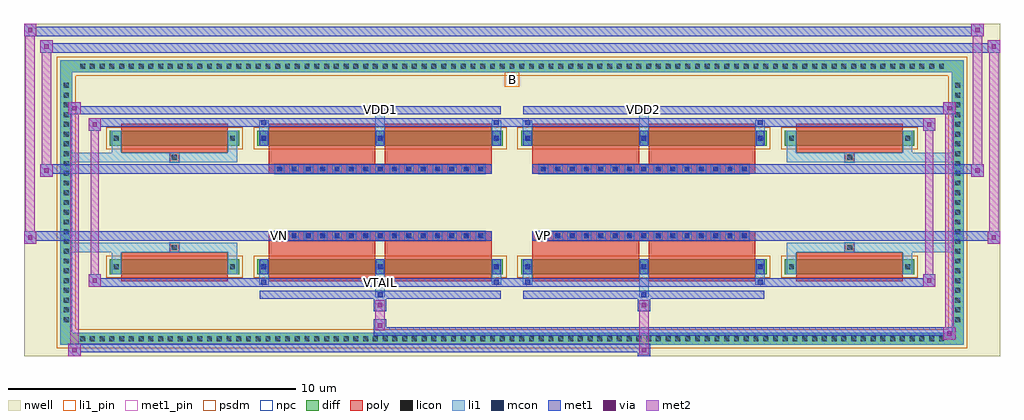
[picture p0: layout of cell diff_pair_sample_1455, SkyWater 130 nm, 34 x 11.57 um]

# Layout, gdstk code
import gdstk
lib = gdstk.Library(unit=1e-6, precision=5e-09)
def R(c, l, rs):  # rectangles x0, y0, x1, y1
    for r in rs: c.add(gdstk.rectangle(r[:2], r[2:], *l))
def A(c, l, x, y, w, h, nx, ny, dx, dy):  # array of equal rectangles
    R(c, l, [(x+i*dx, y+j*dy, x+i*dx+w, y+j*dy+h) for i in range(nx) for j in range(ny)])
def P(c, l, *ps):  # polygons
    for p in ps: c.add(gdstk.Polygon(p, *l))
nwell = (64, 20)
diff = (65, 20)
poly = (66, 20)
licon = (66, 44)
li1_pin = (67, 16)
li1 = (67, 20)
mcon = (67, 44)
met1_pin = (68, 16)
met1 = (68, 20)
via = (68, 44)
met2 = (69, 20)
psdm = (94, 20)
npc = (95, 20)

diff_pair_sample_1455 = lib.new_cell('diff_pair_sample_1455')
R(diff_pair_sample_1455, nwell, [(-17,-5.35,17,6.22), (-14.32,-3.54,-0.01,-0.8), (0.01,-3.54,14.32,-0.8), (-14.32,0.8,-0.01,3.54), (0.01,0.8,14.32,3.54)])
A(diff_pair_sample_1455, diff, -15.165, -4.95, 0.41, 0.41, 89, 2, 0.34, 9.49)
A(diff_pair_sample_1455, diff, -15.73, -4.285, 0.41, 0.41, 1, 25, 0, 0.34)
A(diff_pair_sample_1455, diff, 15.32, -4.285, 0.41, 0.41, 1, 25, 0, 0.34)
R(diff_pair_sample_1455, diff, [(-15.165,-4.95,15.165,-4.54), (-15.73,-4.285,-15.32,4.285), (15.32,-4.285,15.73,4.285), (-14.01,-2.495,-9.51,-1.985), (-8.87,-2.495,-0.32,-1.985), (0.32,-2.495,8.87,-1.985), (9.51,-2.495,14.01,-1.985), (-14.01,1.985,-9.51,2.495), (-8.87,1.985,-0.32,2.495), (0.32,1.985,8.87,2.495), (9.51,1.985,14.01,2.495), (-15.165,4.54,15.165,4.95)])
P(diff_pair_sample_1455, diff, [(15.73,4.95),(-15.73,4.95),(-15.73,-4.54),(-15.32,-4.54),(-15.32,4.54),(15.32,4.54),(15.32,-4.54),(-15.32,-4.54),(-15.73,-4.54),(-15.73,-4.95),(15.73,-4.95)])
A(diff_pair_sample_1455, poly, -8.26, -1.33, 0.33, 0.33, 15, 2, 0.5, 2.33)
A(diff_pair_sample_1455, poly, 0.93, -1.33, 0.33, 0.33, 15, 2, 0.5, 2.33)
R(diff_pair_sample_1455, poly, [(-13.62,-2.745,-9.9,-1.735), (-8.48,-2.745,-4.76,-1.735), (-4.43,-2.745,-0.71,-1.735), (0.71,-2.745,4.43,-1.735), (4.76,-2.745,8.48,-1.735), (9.9,-2.745,13.62,-1.735), (-11.925,-1.735,-11.595,-1.405), (-11.925,-1.735,-11.595,-1.405), (-8.48,-1.735,-4.76,-1.33), (-4.43,-1.735,-0.71,-1.33), (0.71,-1.735,4.43,-1.33), (4.76,-1.735,8.48,-1.33), (11.595,-1.735,11.925,-1.405), (11.595,-1.735,11.925,-1.405), (-8.48,-1.33,-0.71,-1), (0.71,-1.33,8.48,-1), (-8.48,1,-0.71,1.33), (0.71,1,8.48,1.33), (-8.48,1.33,-4.76,1.735), (-4.43,1.33,-0.71,1.735), (0.71,1.33,4.43,1.735), (4.76,1.33,8.48,1.735), (-11.925,1.405,-11.595,1.735), (-11.925,1.405,-11.595,1.735), (11.595,1.405,11.925,1.735), (11.595,1.405,11.925,1.735), (-13.62,1.735,-9.9,2.745), (-8.48,1.735,-4.76,2.745), (-4.43,1.735,-0.71,2.745), (0.71,1.735,4.43,2.745), (4.76,1.735,8.48,2.745), (9.9,1.735,13.62,2.745)])
A(diff_pair_sample_1455, licon, -15.045, -4.83, 0.17, 0.17, 89, 2, 0.34, 9.49)
A(diff_pair_sample_1455, licon, -15.61, -4.165, 0.17, 0.17, 1, 25, 0, 0.34)
A(diff_pair_sample_1455, licon, 15.44, -4.165, 0.17, 0.17, 1, 25, 0, 0.34)
A(diff_pair_sample_1455, licon, -8.73, -2.325, 0.17, 0.17, 3, 2, 4.05, 4.48)
A(diff_pair_sample_1455, licon, 0.46, -2.325, 0.17, 0.17, 3, 2, 4.05, 4.48)
A(diff_pair_sample_1455, licon, -8.18, -1.25, 0.17, 0.17, 15, 2, 0.5, 2.33)
A(diff_pair_sample_1455, licon, 1.01, -1.25, 0.17, 0.17, 15, 2, 0.5, 2.33)
R(diff_pair_sample_1455, licon, [(-13.87,-2.325,-13.7,-2.155), (-9.82,-2.325,-9.65,-2.155), (9.65,-2.325,9.82,-2.155), (13.7,-2.325,13.87,-2.155), (-11.845,-1.655,-11.675,-1.485), (11.675,-1.655,11.845,-1.485), (-11.845,1.485,-11.675,1.655), (11.675,1.485,11.845,1.655), (-13.87,2.155,-13.7,2.325), (-9.82,2.155,-9.65,2.325), (9.65,2.155,9.82,2.325), (13.7,2.155,13.87,2.325)])
R(diff_pair_sample_1455, li1_pin, [(-0.25,4.04,0.25,4.54)])
A(diff_pair_sample_1455, li1, -15.125, -4.91, 0.33, 0.33, 89, 2, 0.34, 9.49)
A(diff_pair_sample_1455, li1, -15.69, -4.245, 0.33, 0.33, 1, 25, 0, 0.34)
A(diff_pair_sample_1455, li1, 15.36, -4.245, 0.33, 0.33, 1, 25, 0, 0.34)
A(diff_pair_sample_1455, li1, -8.81, -2.495, 0.33, 0.51, 3, 2, 4.05, 4.48)
A(diff_pair_sample_1455, li1, 0.38, -2.495, 0.33, 0.51, 3, 2, 4.05, 4.48)
A(diff_pair_sample_1455, li1, -8.81, -2.405, 0.33, 0.33, 3, 2, 4.05, 4.48)
A(diff_pair_sample_1455, li1, 0.38, -2.405, 0.33, 0.33, 3, 2, 4.05, 4.48)
A(diff_pair_sample_1455, li1, -8.26, -1.33, 0.33, 0.33, 15, 2, 0.5, 2.33)
A(diff_pair_sample_1455, li1, 0.93, -1.33, 0.33, 0.33, 15, 2, 0.5, 2.33)
R(diff_pair_sample_1455, li1, [(-15.73,-4.95,-15.32,-4.54), (-15.73,-4.95,-15.32,-4.54), (-15.32,-4.95,15.32,-4.54), (15.32,-4.95,15.73,-4.54), (15.32,-4.95,15.73,-4.54), (-15.73,-4.54,-15.32,4.54), (15.32,-4.54,15.73,4.54), (-4.76,-3.3,-4.43,-2.495), (-4.68,-3.3,-4.51,-3.13), (4.43,-3.3,4.76,-2.495), (4.51,-3.3,4.68,-3.13), (-8.81,-2.87,-8.48,-2.495), (-8.73,-2.87,-8.56,-2.7), (-0.71,-2.87,-0.38,-2.495), (-0.63,-2.87,-0.46,-2.7), (0.38,-2.87,0.71,-2.495), (0.46,-2.87,0.63,-2.7), (8.48,-2.87,8.81,-2.495), (8.56,-2.87,8.73,-2.7), (-13.95,-2.495,-13.62,-1.985), (-9.9,-2.495,-9.57,-1.985), (9.57,-2.495,9.9,-1.985), (13.62,-2.495,13.95,-1.985), (-13.95,-2.405,-13.62,-2.075), (-9.9,-2.405,-9.57,-2.075), (9.57,-2.405,9.9,-2.075), (13.62,-2.405,13.95,-2.075), (-8.73,-2.325,-8.56,-2.155), (-8.73,-2.325,-8.56,-2.155), (-4.68,-2.325,-4.51,-2.155), (-4.68,-2.325,-4.51,-2.155), (-0.63,-2.325,-0.46,-2.155), (-0.63,-2.325,-0.46,-2.155), (0.46,-2.325,0.63,-2.155), (0.46,-2.325,0.63,-2.155), (4.51,-2.325,4.68,-2.155), (4.51,-2.325,4.68,-2.155), (8.56,-2.325,8.73,-2.155), (8.56,-2.325,8.73,-2.155), (-13.95,-1.985,-13.62,-1.405), (-9.9,-1.985,-9.57,-1.405), (9.57,-1.985,9.9,-1.405), (13.62,-1.985,13.95,-1.405), (-15.73,-1.735,-11.925,-1.405), (-13.95,-1.735,-11.925,-1.405), (-11.925,-1.735,-11.595,-1.405), (-11.595,-1.735,-9.57,-1.405), (9.57,-1.735,11.595,-1.405), (11.595,-1.735,11.925,-1.405), (11.595,-1.735,15.73,-1.405), (11.925,-1.735,13.95,-1.405), (-15.73,1.405,-11.925,1.735), (-13.95,1.405,-11.925,1.735), (-13.95,1.405,-13.62,1.985), (-11.925,1.405,-11.595,1.735), (-11.595,1.405,-9.57,1.735), (-9.9,1.405,-9.57,1.985), (9.57,1.405,11.595,1.735), (9.57,1.405,9.9,1.985), (11.595,1.405,11.925,1.735), (11.595,1.405,15.73,1.735), (11.925,1.405,13.95,1.735), (13.62,1.405,13.95,1.985), (-13.95,1.985,-13.62,2.495), (-9.9,1.985,-9.57,2.495), (9.57,1.985,9.9,2.495), (13.62,1.985,13.95,2.495), (-13.95,2.075,-13.62,2.405), (-9.9,2.075,-9.57,2.405), (9.57,2.075,9.9,2.405), (13.62,2.075,13.95,2.405), (-8.73,2.155,-8.56,2.325), (-8.73,2.155,-8.56,2.325), (-4.68,2.155,-4.51,2.325), (-4.68,2.155,-4.51,2.325), (-0.63,2.155,-0.46,2.325), (-0.63,2.155,-0.46,2.325), (0.46,2.155,0.63,2.325), (0.46,2.155,0.63,2.325), (4.51,2.155,4.68,2.325), (4.51,2.155,4.68,2.325), (8.56,2.155,8.73,2.325), (8.56,2.155,8.73,2.325), (-8.81,2.495,-8.48,2.87), (-4.76,2.495,-4.43,3.3), (-0.71,2.495,-0.38,2.87), (0.38,2.495,0.71,2.87), (4.43,2.495,4.76,3.3), (8.48,2.495,8.81,2.87), (-8.73,2.7,-8.56,2.87), (-0.63,2.7,-0.46,2.87), (0.46,2.7,0.63,2.87), (8.56,2.7,8.73,2.87), (-4.68,3.13,-4.51,3.3), (4.51,3.13,4.68,3.3), (-15.73,4.54,-15.32,4.95), (-15.73,4.54,-15.32,4.95), (-15.32,4.54,15.32,4.95), (15.32,4.54,15.73,4.95), (15.32,4.54,15.73,4.95)])
A(diff_pair_sample_1455, mcon, -8.73, -2.325, 0.17, 0.17, 3, 2, 4.05, 4.48)
A(diff_pair_sample_1455, mcon, 0.46, -2.325, 0.17, 0.17, 3, 2, 4.05, 4.48)
A(diff_pair_sample_1455, mcon, -8.18, -1.25, 0.17, 0.17, 15, 2, 0.5, 2.33)
A(diff_pair_sample_1455, mcon, 1.01, -1.25, 0.17, 0.17, 15, 2, 0.5, 2.33)
R(diff_pair_sample_1455, mcon, [(-4.68,-3.3,-4.51,-3.13), (4.51,-3.3,4.68,-3.13), (-8.73,-2.87,-8.56,-2.7), (-0.63,-2.87,-0.46,-2.7), (0.46,-2.87,0.63,-2.7), (8.56,-2.87,8.73,-2.7), (-8.73,2.7,-8.56,2.87), (-0.63,2.7,-0.46,2.87), (0.46,2.7,0.63,2.87), (8.56,2.7,8.73,2.87), (-4.68,3.13,-4.51,3.3), (4.51,3.13,4.68,3.3)])
R(diff_pair_sample_1455, met1_pin, [(-4.73,-2.91,-4.46,-2.64), (-8.23,-1.29,-7.96,-1.02), (0.96,-1.29,1.23,-1.02), (-4.73,3.09,-4.46,3.36), (4.46,3.09,4.73,3.36)])
A(diff_pair_sample_1455, met1, -8.79, -2.495, 0.29, 0.51, 3, 2, 4.05, 4.48)
A(diff_pair_sample_1455, met1, 0.4, -2.495, 0.29, 0.51, 3, 2, 4.05, 4.48)
A(diff_pair_sample_1455, met1, -8.79, -2.385, 0.29, 0.29, 3, 2, 4.05, 4.48)
A(diff_pair_sample_1455, met1, 0.4, -2.385, 0.29, 0.29, 3, 2, 4.05, 4.48)
A(diff_pair_sample_1455, met1, -8.24, -1.31, 0.29, 0.29, 15, 2, 0.5, 2.33)
A(diff_pair_sample_1455, met1, 0.95, -1.31, 0.29, 0.29, 15, 2, 0.5, 2.33)
R(diff_pair_sample_1455, met1, [(-15.46,-5.35,-15.03,-4.92), (4.38,-5.35,4.81,-4.92), (-15.46,-5.21,4.81,-4.92), (15.03,-4.78,15.46,-4.35), (-4.81,-4.64,15.46,-4.35), (-4.81,-4.5,-4.38,-4.07), (-4.81,-3.79,-4.38,-3.36), (4.38,-3.79,4.81,-3.36), (-8.79,-3.36,-0.4,-3.07), (-4.74,-3.36,-4.45,-3.07), (0.4,-3.36,8.79,-3.07), (4.45,-3.36,4.74,-3.07), (-14.75,-2.93,-14.32,-2.5), (-14.75,-2.93,-8.79,-2.64), (-8.79,-2.93,-8.5,-2.64), (-8.79,-2.93,-0.4,-2.64), (-0.69,-2.93,-0.4,-2.64), (-0.4,-2.93,0.4,-2.64), (0.4,-2.93,0.69,-2.64), (0.4,-2.93,8.79,-2.64), (8.5,-2.93,8.79,-2.64), (8.79,-2.93,14.75,-2.64), (14.32,-2.93,14.75,-2.5), (-17,-1.43,-16.57,-1), (16.57,-1.43,17,-1), (-17,-1.33,-0.71,-1), (-8.48,-1.33,-0.71,-1), (0.71,-1.33,8.48,-1), (0.71,-1.33,17,-1), (-16.43,0.9,-16,1.33), (16,0.9,16.43,1.33), (-16.43,1,-8.48,1.33), (-8.48,1,-0.71,1.33), (0.71,1,8.48,1.33), (8.48,1,16.43,1.33), (-14.75,2.5,-14.32,2.93), (14.32,2.5,14.75,2.93), (-14.75,2.64,-8.79,2.93), (-8.79,2.64,-8.5,2.93), (-8.79,2.64,-0.4,2.93), (-0.69,2.64,-0.4,2.93), (-0.4,2.64,0.4,2.93), (0.4,2.64,0.69,2.93), (0.4,2.64,8.79,2.93), (8.5,2.64,8.79,2.93), (8.79,2.64,14.75,2.93), (-15.46,3.07,-15.03,3.5), (-15.46,3.07,-8.79,3.36), (-8.79,3.07,-0.4,3.36), (-4.74,3.07,-4.45,3.36), (0.4,3.07,8.79,3.36), (4.45,3.07,4.74,3.36), (8.79,3.07,15.46,3.36), (15.03,3.07,15.46,3.5), (-16.43,5.22,-16,5.65), (-16.43,5.22,-14.32,5.55), (-14.32,5.22,14.32,5.55), (14.32,5.22,17,5.55), (16.57,5.22,17,5.65), (-17,5.79,-16.57,6.22), (-17,5.79,-14.32,6.12), (-14.32,5.79,14.32,6.12), (14.32,5.79,16.43,6.12), (16,5.79,16.43,6.22)])
R(diff_pair_sample_1455, via, [(-15.32,-5.21,-15.17,-5.06), (4.52,-5.21,4.67,-5.06), (15.17,-4.64,15.32,-4.49), (-4.67,-4.36,-4.52,-4.21), (-4.67,-3.65,-4.52,-3.5), (4.52,-3.65,4.67,-3.5), (-14.61,-2.79,-14.46,-2.64), (14.46,-2.79,14.61,-2.64), (-16.86,-1.29,-16.71,-1.14), (16.71,-1.29,16.86,-1.14), (-16.29,1.04,-16.14,1.19), (16.14,1.04,16.29,1.19), (-14.61,2.64,-14.46,2.79), (14.46,2.64,14.61,2.79), (-15.32,3.21,-15.17,3.36), (15.17,3.21,15.32,3.36), (-16.29,5.36,-16.14,5.51), (16.71,5.36,16.86,5.51), (-16.86,5.93,-16.71,6.08), (16.14,5.93,16.29,6.08)])
R(diff_pair_sample_1455, met2, [(-15.46,-5.35,-15.03,-4.92), (-15.39,-5.35,-15.1,3.5), (-15.1,-5.35,-15.03,-4.92), (-15.41,-5.3,-15.08,-4.97), (4.43,-5.3,4.76,-4.97), (4.43,-4.97,4.76,-3.74), (15.03,-4.78,15.46,-4.35), (15.1,-4.78,15.39,3.5), (15.39,-4.78,15.46,-4.35), (15.08,-4.73,15.41,-4.4), (-4.76,-4.45,-4.43,-4.12), (-4.76,-4.12,-4.43,-3.74), (-4.76,-3.74,-4.43,-3.41), (4.43,-3.74,4.76,-3.41), (-14.75,-2.93,-14.32,-2.5), (-14.68,-2.93,-14.39,2.93), (-14.39,-2.93,-14.32,-2.5), (14.32,-2.93,14.75,-2.5), (14.39,-2.93,14.68,2.93), (14.68,-2.93,14.75,-2.5), (-14.7,-2.88,-14.37,-2.55), (14.37,-2.88,14.7,-2.55), (-17,-1.43,-16.57,-1), (-16.95,-1.43,-16.62,6.22), (-16.62,-1.43,-16.57,-1), (16.57,-1.43,17,-1), (16.62,-1.43,16.95,5.65), (16.95,-1.43,17,-1), (-16.95,-1.38,-16.62,-1.05), (16.62,-1.38,16.95,-1.05), (-16.43,0.9,-16,1.33), (-16.38,0.9,-16.05,5.65), (-16.05,0.9,-16,1.33), (16,0.9,16.43,1.33), (16.05,0.9,16.38,6.22), (16.38,0.9,16.43,1.33), (-16.38,0.95,-16.05,1.28), (16.05,0.95,16.38,1.28), (-14.75,2.5,-14.32,2.93), (-14.39,2.5,-14.32,2.93), (14.32,2.5,14.75,2.93), (14.68,2.5,14.75,2.93), (-14.7,2.55,-14.37,2.88), (14.37,2.55,14.7,2.88), (-15.46,3.07,-15.03,3.5), (-15.1,3.07,-15.03,3.5), (15.03,3.07,15.46,3.5), (15.39,3.07,15.46,3.5), (-15.41,3.12,-15.08,3.45), (15.08,3.12,15.41,3.45), (-16.43,5.22,-16,5.65), (-16.05,5.22,-16,5.65), (16.57,5.22,17,5.65), (16.95,5.22,17,5.65), (-16.38,5.27,-16.05,5.6), (16.62,5.27,16.95,5.6), (-17,5.79,-16.57,6.22), (-16.62,5.79,-16.57,6.22), (16,5.79,16.43,6.22), (16.38,5.79,16.43,6.22), (-16.95,5.84,-16.62,6.17), (16.05,5.84,16.38,6.17)])
R(diff_pair_sample_1455, psdm, [(-14.14,-2.625,-9.38,-1.855), (-9,-2.625,-0.19,-1.855), (0.19,-2.625,9,-1.855), (9.38,-2.625,14.14,-1.855), (-14.14,1.855,-9.38,2.625), (-9,1.855,-0.19,2.625), (0.19,1.855,9,2.625), (9.38,1.855,14.14,2.625)])
P(diff_pair_sample_1455, psdm, [(15.86,5.08),(-15.86,5.08),(-15.86,-4.41),(-15.19,-4.41),(-15.19,4.41),(15.19,4.41),(15.19,-4.41),(-15.19,-4.41),(-15.86,-4.41),(-15.86,-5.08),(15.86,-5.08)])
A(diff_pair_sample_1455, npc, -8.28, -1.35, 0.37, 0.37, 15, 2, 0.5, 2.33)
A(diff_pair_sample_1455, npc, 0.91, -1.35, 0.37, 0.37, 15, 2, 0.5, 2.33)
R(diff_pair_sample_1455, npc, [(-11.945,-1.755,-11.575,-1.385), (11.575,-1.755,11.945,-1.385), (-8.28,-1.35,-7.41,-0.98), (-8.28,-1.35,-7.41,-0.98), (-7.78,-1.35,-6.91,-0.98), (-7.78,-1.35,-6.91,-0.98), (-7.28,-1.35,-6.41,-0.98), (-7.28,-1.35,-6.41,-0.98), (-6.78,-1.35,-5.91,-0.98), (-6.78,-1.35,-5.91,-0.98), (-6.28,-1.35,-5.41,-0.98), (-6.28,-1.35,-5.41,-0.98), (-5.78,-1.35,-4.91,-0.98), (-5.78,-1.35,-4.91,-0.98), (-5.28,-1.35,-4.41,-0.98), (-5.28,-1.35,-4.41,-0.98), (-4.78,-1.35,-3.91,-0.98), (-4.78,-1.35,-3.91,-0.98), (-4.28,-1.35,-3.41,-0.98), (-4.28,-1.35,-3.41,-0.98), (-3.78,-1.35,-2.91,-0.98), (-3.78,-1.35,-2.91,-0.98), (-3.28,-1.35,-2.41,-0.98), (-3.28,-1.35,-2.41,-0.98), (-2.78,-1.35,-1.91,-0.98), (-2.78,-1.35,-1.91,-0.98), (-2.28,-1.35,-1.41,-0.98), (-2.28,-1.35,-1.41,-0.98), (-1.78,-1.35,-0.91,-0.98), (-1.78,-1.35,-0.91,-0.98), (0.91,-1.35,1.78,-0.98), (0.91,-1.35,1.78,-0.98), (1.41,-1.35,2.28,-0.98), (1.41,-1.35,2.28,-0.98), (1.91,-1.35,2.78,-0.98), (1.91,-1.35,2.78,-0.98), (2.41,-1.35,3.28,-0.98), (2.41,-1.35,3.28,-0.98), (2.91,-1.35,3.78,-0.98), (2.91,-1.35,3.78,-0.98), (3.41,-1.35,4.28,-0.98), (3.41,-1.35,4.28,-0.98), (3.91,-1.35,4.78,-0.98), (3.91,-1.35,4.78,-0.98), (4.41,-1.35,5.28,-0.98), (4.41,-1.35,5.28,-0.98), (4.91,-1.35,5.78,-0.98), (4.91,-1.35,5.78,-0.98), (5.41,-1.35,6.28,-0.98), (5.41,-1.35,6.28,-0.98), (5.91,-1.35,6.78,-0.98), (5.91,-1.35,6.78,-0.98), (6.41,-1.35,7.28,-0.98), (6.41,-1.35,7.28,-0.98), (6.91,-1.35,7.78,-0.98), (6.91,-1.35,7.78,-0.98), (7.41,-1.35,8.28,-0.98), (7.41,-1.35,8.28,-0.98), (-8.28,0.98,-7.41,1.35), (-8.28,0.98,-7.41,1.35), (-7.78,0.98,-6.91,1.35), (-7.78,0.98,-6.91,1.35), (-7.28,0.98,-6.41,1.35), (-7.28,0.98,-6.41,1.35), (-6.78,0.98,-5.91,1.35), (-6.78,0.98,-5.91,1.35), (-6.28,0.98,-5.41,1.35), (-6.28,0.98,-5.41,1.35), (-5.78,0.98,-4.91,1.35), (-5.78,0.98,-4.91,1.35), (-5.28,0.98,-4.41,1.35), (-5.28,0.98,-4.41,1.35), (-4.78,0.98,-3.91,1.35), (-4.78,0.98,-3.91,1.35), (-4.28,0.98,-3.41,1.35), (-4.28,0.98,-3.41,1.35), (-3.78,0.98,-2.91,1.35), (-3.78,0.98,-2.91,1.35), (-3.28,0.98,-2.41,1.35), (-3.28,0.98,-2.41,1.35), (-2.78,0.98,-1.91,1.35), (-2.78,0.98,-1.91,1.35), (-2.28,0.98,-1.41,1.35), (-2.28,0.98,-1.41,1.35), (-1.78,0.98,-0.91,1.35), (-1.78,0.98,-0.91,1.35), (0.91,0.98,1.78,1.35), (0.91,0.98,1.78,1.35), (1.41,0.98,2.28,1.35), (1.41,0.98,2.28,1.35), (1.91,0.98,2.78,1.35), (1.91,0.98,2.78,1.35), (2.41,0.98,3.28,1.35), (2.41,0.98,3.28,1.35), (2.91,0.98,3.78,1.35), (2.91,0.98,3.78,1.35), (3.41,0.98,4.28,1.35), (3.41,0.98,4.28,1.35), (3.91,0.98,4.78,1.35), (3.91,0.98,4.78,1.35), (4.41,0.98,5.28,1.35), (4.41,0.98,5.28,1.35), (4.91,0.98,5.78,1.35), (4.91,0.98,5.78,1.35), (5.41,0.98,6.28,1.35), (5.41,0.98,6.28,1.35), (5.91,0.98,6.78,1.35), (5.91,0.98,6.78,1.35), (6.41,0.98,7.28,1.35), (6.41,0.98,7.28,1.35), (6.91,0.98,7.78,1.35), (6.91,0.98,7.78,1.35), (7.41,0.98,8.28,1.35), (7.41,0.98,8.28,1.35), (-11.945,1.385,-11.575,1.755), (11.575,1.385,11.945,1.755)])
diff_pair_sample_1455.add(gdstk.Label('VTAIL', (-4.595,-2.775), layer=68, texttype=5))
diff_pair_sample_1455.add(gdstk.Label('VN', (-8.095,-1.155), layer=68, texttype=5))
diff_pair_sample_1455.add(gdstk.Label('VP', (1.095,-1.155), layer=68, texttype=5))
diff_pair_sample_1455.add(gdstk.Label('B', (0,4.29), layer=67, texttype=5))
diff_pair_sample_1455.add(gdstk.Label('VDD2', (4.595,3.225), layer=68, texttype=5))
diff_pair_sample_1455.add(gdstk.Label('VDD1', (-4.595,3.225), layer=68, texttype=5))

lib.write_gds('diff_pair_sample_1455.gds')
